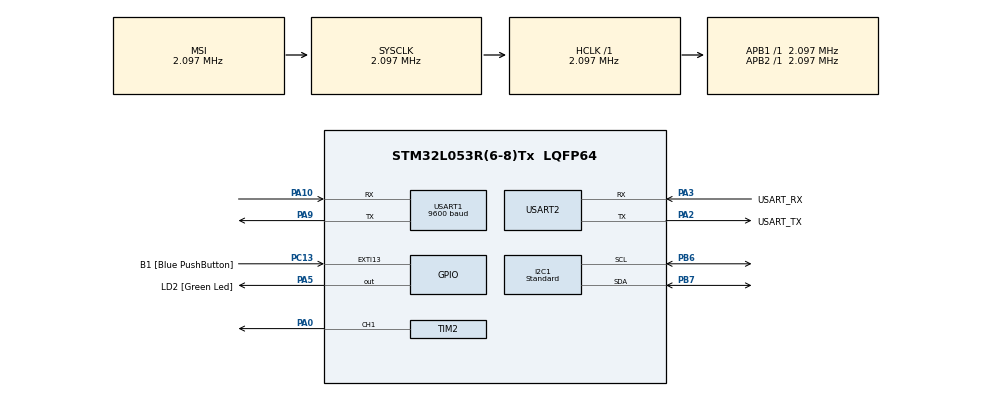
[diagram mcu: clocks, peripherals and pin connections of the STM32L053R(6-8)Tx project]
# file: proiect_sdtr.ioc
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FREERTOS.Queues01=DataQueue,5,uint16_t,0,Dynamic,NULL,NULL
FREERTOS.Tasks01=Task_Senzor,40,128,StartDefaultTask,Default,NULL,Dynamic,NULL,NULL;Task_Comunicati,24,128,StartTask02,Default,NULL,Dynamic,NULL,NULL
FREERTOS.configTOTAL_HEAP_SIZE=2048
I2C1.I2C_Speed_Mode=I2C_Standard
I2C1.Timing=0x00000608
Mcu.Family=STM32L0
Mcu.Name=STM32L053R(6-8)Tx
Mcu.Package=LQFP64
PA0.Signal=S_TIM2_CH1
PA10.Mode=Asynchronous
PA10.Signal=USART1_RX
PA13.GPIO_Label=TMS
PA13.Mode=Serial_Wire
PA13.Signal=SYS_SWDIO
PA14.GPIO_Label=TCK
PA14.Mode=Serial_Wire
PA14.Signal=SYS_SWCLK
PA2.GPIO_Label=USART_TX
PA2.Mode=Asynchronous
PA2.Signal=USART2_TX
PA3.GPIO_Label=USART_RX
PA3.Mode=Asynchronous
PA3.Signal=USART2_RX
PA5.GPIO_Label=LD2 [Green Led]
PA5.Signal=GPIO_Output
PA9.Mode=Asynchronous
PA9.Signal=USART1_TX
PB6.Mode=I2C
PB6.Signal=I2C1_SCL
PB7.Mode=I2C
PB7.Signal=I2C1_SDA
PC13.GPIO_Label=B1 [Blue PushButton]
PC13.GPIO_ModeDefaultEXTI=GPIO_MODE_IT_FALLING
PC13.Signal=GPXTI13
PC14-OSC32_IN.Mode=LSE-External-Oscillator
PC14-OSC32_IN.Signal=RCC_OSC32_IN
PC15-OSC32_OUT.Mode=LSE-External-Oscillator
PC15-OSC32_OUT.Signal=RCC_OSC32_OUT
PH0-OSC_IN.Mode=HSE-External-Clock-Source
PH0-OSC_IN.Signal=RCC_OSC_IN
PH1-OSC_OUT.Signal=RCC_OSC_OUT
ProjectManager.HeapSize=0x200
ProjectManager.StackSize=0x400
ProjectManager.TargetToolchain=STM32CubeIDE
RCC.AHBFreq_Value=2097000
RCC.APB1Freq_Value=2097000
RCC.APB1TimFreq_Value=2097000
RCC.APB2Freq_Value=2097000
RCC.APB2TimFreq_Value=2097000
RCC.HSE_VALUE=8000000
RCC.HSI16_VALUE=16000000
RCC.HSI48_VALUE=48000000
RCC.HSI_VALUE=16000000
RCC.MSI_VALUE=2097000
RCC.SYSCLKFreq_VALUE=2097000
RCC.VCOOutputFreq_Value=48000000
SH.S_TIM2_CH1.0=TIM2_CH1,PWM Generation1 CH1
TIM2.Channel-PWM\ Generation1\ CH1=TIM_CHANNEL_1
USART1.BaudRate=9600
USART1.VirtualMode-Asynchronous=VM_ASYNC
USART2.VirtualMode-Asynchronous=VM_ASYNC
VP_FREERTOS_VS_CMSIS_V2.Mode=CMSIS_V2
VP_TIM2_VS_ClockSourceINT.Mode=Internal
board=NUCLEO-L053R8

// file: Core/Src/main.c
/* USER CODE BEGIN Header */
/**
  ******************************************************************************
  * @file           : main.c
  * @brief          : Main program body
  ******************************************************************************
  * @attention
  *
  * Copyright (c) 2026 STMicroelectronics.
  * All rights reserved.
  *
  * This software is licensed under terms that can be found in the LICENSE file
  * in the root directory of this software component.
  * If no LICENSE file comes with this software, it is provided AS-IS.
  *
  ******************************************************************************
  */
/* USER CODE END Header */
#include "main.h"
#include "cmsis_os.h"
#include <string.h>

/* USER CODE BEGIN PTD */
typedef struct {
    float temperatura;
    float umiditate;
    float presiune;
} SensorData_t;

// BMP280 Calibration data
typedef struct {
    uint16_t dig_T1;
    int16_t dig_T2;
    int16_t dig_T3;
    uint16_t dig_P1;
    int16_t dig_P2;
    int16_t dig_P3;
    int16_t dig_P4;
    int16_t dig_P5;
    int16_t dig_P6;
    int16_t dig_P7;
    int16_t dig_P8;
    int16_t dig_P9;
} BMP280_Calib_t;
/* USER CODE END PTD */

/* USER CODE BEGIN PD */
// BMP280 Definitions
#define BMP280_ADDR         (0x77 << 1)  // Using alternate address (shift for HAL)
#define BMP280_ID_REG       0xD0
#define BMP280_RESET_REG    0xE0
#define BMP280_CTRL_MEAS    0xF4
#define BMP280_CONFIG       0xF5
#define BMP280_PRESS_MSB    0xF7

// AHT20 Definitions
#define AHT20_ADDR          (0x38 << 1)  // Standard address (shift for HAL)
#define AHT20_CMD_INIT      0xBE
#define AHT20_CMD_TRIGGER   0xAC
#define AHT20_CMD_SOFTRESET 0xBA
/* USER CODE END PD */

I2C_HandleTypeDef hi2c1;

TIM_HandleTypeDef htim2;

UART_HandleTypeDef huart1;
UART_HandleTypeDef huart2;

/* Definitions for Task_Senzor */
osThreadId_t Task_SenzorHandle;
const osThreadAttr_t Task_Senzor_attributes = {
  .name = "Task_Senzor",
  .stack_size = 128 * 4,  // Increased for I2C operations
  .priority = (osPriority_t) osPriorityHigh,
};
/* Definitions for Task_Comunicati */
osThreadId_t Task_ComunicatiHandle;
const osThreadAttr_t Task_Comunicati_attributes = {
  .name = "Task_Comunicati",
  .stack_size = 256 * 4,
  .priority = (osPriority_t) osPriorityNormal,
};
/* Definitions for DataQueue */
osMessageQueueId_t DataQueueHandle;
const osMessageQueueAttr_t DataQueue_attributes = {
  .name = "DataQueue"
};
/* USER CODE BEGIN PV */
static BMP280_Calib_t bmp280_calib;
static int32_t t_fine;  // For temperature compensation

/* MUTEX */
osMutexId_t I2C_MutexHandle;
osMutexId_t UART_MutexHandle;
/* USER CODE END PV */

void SystemClock_Config(void);
static void MX_GPIO_Init(void);
static void MX_USART2_UART_Init(void);
static void MX_I2C1_Init(void);
static void MX_TIM2_Init(void);
static void MX_USART1_UART_Init(void);
void StartDefaultTask(void *argument);
void StartTask02(void *argument);

/* USER CODE BEGIN PFP */
// BMP280 Functions
uint8_t BMP280_Init(void);
void BMP280_ReadCalibration(void);
float BMP280_ReadTemperature(void);
float BMP280_ReadPressure(void);

// AHT20 Functions
uint8_t AHT20_Init(void);
uint8_t AHT20_Read(float *temperature, float *humidity);
/* USER CODE END PFP */

/* USER CODE BEGIN 0 */

// ============================================================================
// BMP280 Driver Implementation
// ============================================================================

uint8_t BMP280_Init(void)
{
    uint8_t chip_id;
    uint8_t ctrl_meas = 0x27;
    uint8_t config = 0xA0;
    uint8_t reset_cmd = 0xB6;

    osMutexAcquire(I2C_MutexHandle, osWaitForever);

    if (HAL_I2C_Mem_Read(&hi2c1, BMP280_ADDR, BMP280_ID_REG, 1, &chip_id, 1, 1000) != HAL_OK)
    {
        osMutexRelease(I2C_MutexHandle);
        return 0;
    }

    HAL_I2C_Mem_Write(&hi2c1, BMP280_ADDR, BMP280_RESET_REG, 1, &reset_cmd, 1, 1000);
    HAL_Delay(10);
    HAL_I2C_Mem_Write(&hi2c1, BMP280_ADDR, BMP280_CONFIG, 1, &config, 1, 1000);
    HAL_I2C_Mem_Write(&hi2c1, BMP280_ADDR, BMP280_CTRL_MEAS, 1, &ctrl_meas, 1, 1000);

    BMP280_ReadCalibration();

    osMutexRelease(I2C_MutexHandle);

    return (chip_id == 0x58);
}

void BMP280_ReadCalibration(void) {
    uint8_t calib[24];

    HAL_I2C_Mem_Read(&hi2c1, BMP280_ADDR, 0x88, 1, calib, 24, 1000);

    bmp280_calib.dig_T1 = (calib[1] << 8) | calib[0];
    bmp280_calib.dig_T2 = (calib[3] << 8) | calib[2];
    bmp280_calib.dig_T3 = (calib[5] << 8) | calib[4];
    bmp280_calib.dig_P1 = (calib[7] << 8) | calib[6];
    bmp280_calib.dig_P2 = (calib[9] << 8) | calib[8];
    bmp280_calib.dig_P3 = (calib[11] << 8) | calib[10];
    bmp280_calib.dig_P4 = (calib[13] << 8) | calib[12];
    bmp280_calib.dig_P5 = (calib[15] << 8) | calib[14];
    bmp280_calib.dig_P6 = (calib[17] << 8) | calib[16];
    bmp280_calib.dig_P7 = (calib[19] << 8) | calib[18];
    bmp280_calib.dig_P8 = (calib[21] << 8) | calib[20];
    bmp280_calib.dig_P9 = (calib[23] << 8) | calib[22];
}

float BMP280_ReadTemperature(void) {
    uint8_t data[3];
    int32_t adc_T;
    int32_t var1, var2;

    HAL_I2C_Mem_Read(&hi2c1, BMP280_ADDR, 0xFA, 1, data, 3, 1000);

    adc_T = (data[0] << 12) | (data[1] << 4) | (data[2] >> 4);

    var1 = ((((adc_T >> 3) - ((int32_t)bmp280_calib.dig_T1 << 1))) *
            ((int32_t)bmp280_calib.dig_T2)) >> 11;
    var2 = (((((adc_T >> 4) - ((int32_t)bmp280_calib.dig_T1)) *
              ((adc_T >> 4) - ((int32_t)bmp280_calib.dig_T1))) >> 12) *
            ((int32_t)bmp280_calib.dig_T3)) >> 14;

    t_fine = var1 + var2;

    return ((t_fine * 5 + 128) >> 8) / 100.0f;
}

float BMP280_ReadPressure(void) {
    uint8_t data[3];
    int32_t adc_P;
    int64_t var1, var2, p;
    osMutexAcquire(I2C_MutexHandle, osWaitForever);

    HAL_I2C_Mem_Read(&hi2c1, BMP280_ADDR, 0xF7, 1, data, 3, 1000);
    osMutexRelease(I2C_MutexHandle);

    adc_P = (data[0] << 12) | (data[1] << 4) | (data[2] >> 4);

    var1 = ((int64_t)t_fine) - 128000;
    var2 = var1 * var1 * (int64_t)bmp280_calib.dig_P6;
    var2 = var2 + ((var1 * (int64_t)bmp280_calib.dig_P5) << 17);
    var2 = var2 + (((int64_t)bmp280_calib.dig_P4) << 35);
    var1 = ((var1 * var1 * (int64_t)bmp280_calib.dig_P3) >> 8) +
           ((var1 * (int64_t)bmp280_calib.dig_P2) << 12);
    var1 = (((((int64_t)1) << 47) + var1)) * ((int64_t)bmp280_calib.dig_P1) >> 33;

    if (var1 == 0) {
        return 0;
    }

    p = 1048576 - adc_P;
    p = (((p << 31) - var2) * 3125) / var1;
    var1 = (((int64_t)bmp280_calib.dig_P9) * (p >> 13) * (p >> 13)) >> 25;
    var2 = (((int64_t)bmp280_calib.dig_P8) * p) >> 19;

    p = ((p + var1 + var2) >> 8) + (((int64_t)bmp280_calib.dig_P7) << 4);

    return (float)p / 25600.0f;  // Return in hPa
}

// ============================================================================
// AHT20 Driver Implementation
// ============================================================================

uint8_t AHT20_Init(void) {
    uint8_t init_cmd[3] = {AHT20_CMD_INIT, 0x08, 0x00};

    HAL_Delay(40);  // Wait for sensor power-up

    // Send soft reset
    uint8_t reset = AHT20_CMD_SOFTRESET;
    osMutexAcquire(I2C_MutexHandle, osWaitForever);
    HAL_I2C_Master_Transmit(&hi2c1, AHT20_ADDR, &reset, 1, 1000);
    HAL_Delay(20);
    HAL_I2C_Master_Transmit(&hi2c1, AHT20_ADDR, init_cmd, 3, 1000);
    osMutexRelease(I2C_MutexHandle);

    HAL_Delay(10);
    return 1;
}

uint8_t AHT20_Read(float *temperature, float *humidity) {
    uint8_t trigger_cmd[3] = {AHT20_CMD_TRIGGER, 0x33, 0x00};
    uint8_t data[6];

    // Trigger measurement
    osMutexAcquire(I2C_MutexHandle, osWaitForever);
    HAL_I2C_Master_Transmit(&hi2c1, AHT20_ADDR, trigger_cmd, 3, 1000);
    HAL_Delay(80);
    HAL_I2C_Master_Receive(&hi2c1, AHT20_ADDR, data, 6, 1000);
    osMutexRelease(I2C_MutexHandle);

    // Check if busy
    if (data[0] & 0x80) {
        return 0;
    }

    // Calculate humidity
    uint32_t hum = ((uint32_t)data[1] << 12) | ((uint32_t)data[2] << 4) | (data[3] >> 4);
    *humidity = (hum * 100.0f) / 1048576.0f;

    // Calculate temperature
    uint32_t temp = (((uint32_t)data[3] & 0x0F) << 16) | ((uint32_t)data[4] << 8) | data[5];
    *temperature = (temp * 200.0f / 1048576.0f) - 50.0f;

    return 1;
}

/* USER CODE END 0 */

int main(void)
{

  /* MCU Configuration--------------------------------------------------------*/

  /* Reset of all peripherals, Initializes the Flash interface and the Systick. */
  HAL_Init();

  /* Configure the system clock */
  SystemClock_Config();

  /* Initialize all configured peripherals */
  MX_GPIO_Init();
  MX_USART2_UART_Init();
  MX_I2C1_Init();
  MX_TIM2_Init();
  MX_USART1_UART_Init();
  /* USER CODE BEGIN 2 */
  HAL_Delay(2000);

  char msg[] = "Sistem pornit!\r\n";
  HAL_UART_Transmit(&huart1, (uint8_t*)msg, strlen(msg), 1000);

  // Initialize sensors
  if (BMP280_Init()) {
      char bmp_ok[] = "BMP280 OK\r\n";
      HAL_UART_Transmit(&huart1, (uint8_t*)bmp_ok, strlen(bmp_ok), 1000);
  } else {
      char bmp_err[] = "BMP280 EROARE!\r\n";
      HAL_UART_Transmit(&huart1, (uint8_t*)bmp_err, strlen(bmp_err), 1000);
  }

  if (AHT20_Init()) {
      char aht_ok[] = "AHT20 OK\r\n";
      HAL_UART_Transmit(&huart1, (uint8_t*)aht_ok, strlen(aht_ok), 1000);
  } else {
      char aht_err[] = "AHT20 EROARE!\r\n";
      HAL_UART_Transmit(&huart1, (uint8_t*)aht_err, strlen(aht_err), 1000);
  }

  // LED ON = am ajuns aici
  HAL_GPIO_WritePin(LD2_GPIO_Port, LD2_Pin, GPIO_PIN_SET);
  HAL_Delay(500);
  HAL_GPIO_WritePin(LD2_GPIO_Port, LD2_Pin, GPIO_PIN_RESET);

  /* USER CODE END 2 */

  /* Init scheduler */
  osKernelInitialize();

  /* USER CODE BEGIN RTOS_MUTEX */
  I2C_MutexHandle  = osMutexNew(NULL);
  UART_MutexHandle = osMutexNew(NULL);
  /* USER CODE END RTOS_MUTEX */

  /* Create the queue(s) */
  /* creation of DataQueue */
  DataQueueHandle = osMessageQueueNew(5, sizeof(SensorData_t), &DataQueue_attributes);

  /* Create the thread(s) */
  /* creation of Task_Senzor */
  Task_SenzorHandle = osThreadNew(StartDefaultTask, NULL, &Task_Senzor_attributes);

  /* creation of Task_Comunicati */
  Task_ComunicatiHandle = osThreadNew(StartTask02, NULL, &Task_Comunicati_attributes);

  /* Start scheduler */
  osKernelStart();

  /* We should never get here as control is now taken by the scheduler */

  /* Infinite loop */
  while (1)
  {

  }
}

void SystemClock_Config(void)
{
  RCC_OscInitTypeDef RCC_OscInitStruct = {0};
  RCC_ClkInitTypeDef RCC_ClkInitStruct = {0};
  RCC_PeriphCLKInitTypeDef PeriphClkInit = {0};

  /** Configure the main internal regulator output voltage
  */
  __HAL_PWR_VOLTAGESCALING_CONFIG(PWR_REGULATOR_VOLTAGE_SCALE1);

  /** Initializes the RCC Oscillators according to the specified parameters
  * in the RCC_OscInitTypeDef structure.
  */
  RCC_OscInitStruct.OscillatorType = RCC_OSCILLATORTYPE_MSI;
  RCC_OscInitStruct.MSIState = RCC_MSI_ON;
  RCC_OscInitStruct.MSICalibrationValue = 0;
  RCC_OscInitStruct.MSIClockRange = RCC_MSIRANGE_5;
  RCC_OscInitStruct.PLL.PLLState = RCC_PLL_NONE;
  if (HAL_RCC_OscConfig(&RCC_OscInitStruct) != HAL_OK)
  {
    Error_Handler();
  }

  /** Initializes the CPU, AHB and APB buses clocks
  */
  RCC_ClkInitStruct.ClockType = RCC_CLOCKTYPE_HCLK|RCC_CLOCKTYPE_SYSCLK
                              |RCC_CLOCKTYPE_PCLK1|RCC_CLOCKTYPE_PCLK2;
  RCC_ClkInitStruct.SYSCLKSource = RCC_SYSCLKSOURCE_MSI;
  RCC_ClkInitStruct.AHBCLKDivider = RCC_SYSCLK_DIV1;
  RCC_ClkInitStruct.APB1CLKDivider = RCC_HCLK_DIV1;
  RCC_ClkInitStruct.APB2CLKDivider = RCC_HCLK_DIV1;

  if (HAL_RCC_ClockConfig(&RCC_ClkInitStruct, FLASH_LATENCY_0) != HAL_OK)
  {
    Error_Handler();
  }
  PeriphClkInit.PeriphClockSelection = RCC_PERIPHCLK_USART1|RCC_PERIPHCLK_USART2
                              |RCC_PERIPHCLK_I2C1;
  PeriphClkInit.Usart1ClockSelection = RCC_USART1CLKSOURCE_PCLK2;
  PeriphClkInit.Usart2ClockSelection = RCC_USART2CLKSOURCE_PCLK1;
  PeriphClkInit.I2c1ClockSelection = RCC_I2C1CLKSOURCE_PCLK1;
  if (HAL_RCCEx_PeriphCLKConfig(&PeriphClkInit) != HAL_OK)
  {
    Error_Handler();
  }
}

static void MX_I2C1_Init(void)
{

  hi2c1.Instance = I2C1;
  hi2c1.Init.Timing = 0x00000608;
  hi2c1.Init.OwnAddress1 = 0;
  hi2c1.Init.AddressingMode = I2C_ADDRESSINGMODE_7BIT;
  hi2c1.Init.DualAddressMode = I2C_DUALADDRESS_DISABLE;
  hi2c1.Init.OwnAddress2 = 0;
  hi2c1.Init.OwnAddress2Masks = I2C_OA2_NOMASK;
  hi2c1.Init.GeneralCallMode = I2C_GENERALCALL_DISABLE;
  hi2c1.Init.NoStretchMode = I2C_NOSTRETCH_DISABLE;
  if (HAL_I2C_Init(&hi2c1) != HAL_OK)
  {
    Error_Handler();
  }

  /** Configure Analogue filter
  */
  if (HAL_I2CEx_ConfigAnalogFilter(&hi2c1, I2C_ANALOGFILTER_ENABLE) != HAL_OK)
  {
    Error_Handler();
  }

  /** Configure Digital filter
  */
  if (HAL_I2CEx_ConfigDigitalFilter(&hi2c1, 0) != HAL_OK)
  {
    Error_Handler();
  }

}

static void MX_TIM2_Init(void)
{

  TIM_ClockConfigTypeDef sClockSourceConfig = {0};
  TIM_MasterConfigTypeDef sMasterConfig = {0};
  TIM_OC_InitTypeDef sConfigOC = {0};

  htim2.Instance = TIM2;
  htim2.Init.Prescaler = 0;
  htim2.Init.CounterMode = TIM_COUNTERMODE_UP;
  htim2.Init.Period = 65535;
  htim2.Init.ClockDivision = TIM_CLOCKDIVISION_DIV1;
  htim2.Init.AutoReloadPreload = TIM_AUTORELOAD_PRELOAD_DISABLE;
  if (HAL_TIM_Base_Init(&htim2) != HAL_OK)
  {
    Error_Handler();
  }
  sClockSourceConfig.ClockSource = TIM_CLOCKSOURCE_INTERNAL;
  if (HAL_TIM_ConfigClockSource(&htim2, &sClockSourceConfig) != HAL_OK)
  {
    Error_Handler();
  }
  if (HAL_TIM_PWM_Init(&htim2) != HAL_OK)
  {
    Error_Handler();
  }
  sMasterConfig.MasterOutputTrigger = TIM_TRGO_RESET;
  sMasterConfig.MasterSlaveMode = TIM_MASTERSLAVEMODE_DISABLE;
  if (HAL_TIMEx_MasterConfigSynchronization(&htim2, &sMasterConfig) != HAL_OK)
  {
    Error_Handler();
  }
  sConfigOC.OCMode = TIM_OCMODE_PWM1;
  sConfigOC.Pulse = 0;
  sConfigOC.OCPolarity = TIM_OCPOLARITY_HIGH;
  sConfigOC.OCFastMode = TIM_OCFAST_DISABLE;
  if (HAL_TIM_PWM_ConfigChannel(&htim2, &sConfigOC, TIM_CHANNEL_1) != HAL_OK)
  {
    Error_Handler();
  }
  HAL_TIM_MspPostInit(&htim2);

}

static void MX_USART1_UART_Init(void)
{

  huart1.Instance = USART1;
  huart1.Init.BaudRate = 9600;
  huart1.Init.WordLength = UART_WORDLENGTH_8B;
  huart1.Init.StopBits = UART_STOPBITS_1;
  huart1.Init.Parity = UART_PARITY_NONE;
  huart1.Init.Mode = UART_MODE_TX_RX;
  huart1.Init.HwFlowCtl = UART_HWCONTROL_NONE;
  huart1.Init.OverSampling = UART_OVERSAMPLING_16;
  huart1.Init.OneBitSampling = UART_ONE_BIT_SAMPLE_DISABLE;
  huart1.AdvancedInit.AdvFeatureInit = UART_ADVFEATURE_NO_INIT;
  if (HAL_UART_Init(&huart1) != HAL_OK)
  {
    Error_Handler();
  }

}

static void MX_USART2_UART_Init(void)
{

  huart2.Instance = USART2;
  huart2.Init.BaudRate = 115200;
  huart2.Init.WordLength = UART_WORDLENGTH_8B;
  huart2.Init.StopBits = UART_STOPBITS_1;
  huart2.Init.Parity = UART_PARITY_NONE;
  huart2.Init.Mode = UART_MODE_TX_RX;
  huart2.Init.HwFlowCtl = UART_HWCONTROL_NONE;
  huart2.Init.OverSampling = UART_OVERSAMPLING_16;
  huart2.Init.OneBitSampling = UART_ONE_BIT_SAMPLE_DISABLE;
  huart2.AdvancedInit.AdvFeatureInit = UART_ADVFEATURE_NO_INIT;
  if (HAL_UART_Init(&huart2) != HAL_OK)
  {
    Error_Handler();
  }

}

static void MX_GPIO_Init(void)
{
  GPIO_InitTypeDef GPIO_InitStruct = {0};

  /* GPIO Ports Clock Enable */
  __HAL_RCC_GPIOC_CLK_ENABLE();
  __HAL_RCC_GPIOH_CLK_ENABLE();
  __HAL_RCC_GPIOA_CLK_ENABLE();
  __HAL_RCC_GPIOB_CLK_ENABLE();

  /*Configure GPIO pin Output Level */
  HAL_GPIO_WritePin(LD2_GPIO_Port, LD2_Pin, GPIO_PIN_RESET);

  /*Configure GPIO pin : B1_Pin */
  GPIO_InitStruct.Pin = B1_Pin;
  GPIO_InitStruct.Mode = GPIO_MODE_IT_FALLING;
  GPIO_InitStruct.Pull = GPIO_NOPULL;
  HAL_GPIO_Init(B1_GPIO_Port, &GPIO_InitStruct);

  /*Configure GPIO pin : LD2_Pin */
  GPIO_InitStruct.Pin = LD2_Pin;
  GPIO_InitStruct.Mode = GPIO_MODE_OUTPUT_PP;
  GPIO_InitStruct.Pull = GPIO_NOPULL;
  GPIO_InitStruct.Speed = GPIO_SPEED_FREQ_LOW;
  HAL_GPIO_Init(LD2_GPIO_Port, &GPIO_InitStruct);

}

void StartDefaultTask(void *argument)
{
  static SensorData_t sensor_data;
  float temp_aht, hum_aht;

  osDelay(2000);

  for(;;)
  {
    // Read AHT20 (temperature + humidity)
    if (AHT20_Read(&temp_aht, &hum_aht)) {
      sensor_data.temperatura = temp_aht;
      sensor_data.umiditate = hum_aht;
    } else {
      // Error reading AHT20 - use fallback values
      sensor_data.temperatura = -999.0f;
      sensor_data.umiditate = -999.0f;
    }

    // Read BMP280 (pressure, we use AHT20 for temperature)
    sensor_data.presiune = BMP280_ReadPressure();

    // Send to queue
    osMessageQueuePut(DataQueueHandle, &sensor_data, 0, 100);

        // 4. Feedback vizual (Toggle LED)
        HAL_GPIO_TogglePin(LD2_GPIO_Port, LD2_Pin);

        // 5. Pauză de 30 de secunde (30000 ms)
        osDelay(30000);
  }
}

void StartTask02(void *argument)
{
  static SensorData_t received_data;
  static char buf[100];

  for(;;)
  {
    if (osMessageQueueGet(DataQueueHandle, &received_data, NULL, osWaitForever) == osOK)
    {
      // Convert to integers to save RAM
      int temp = (int)(received_data.temperatura * 10);
      int umid = (int)(received_data.umiditate * 10);
      int pres = (int)(received_data.presiune * 10);

      int len = snprintf(buf, sizeof(buf),
                        "T:%d.%d C|U:%d.%d%%|P:%d.%d hPa\r\n",
                        temp/10, temp%10,
                        umid/10, umid%10,
                        pres/10, pres%10);

      osMutexAcquire(UART_MutexHandle, osWaitForever);
      HAL_UART_Transmit(&huart1, (uint8_t*)buf, len, 1000);
      osMutexRelease(UART_MutexHandle);
    }
  }
}

void Error_Handler(void)
{
  __disable_irq();
  while (1)
  {
  }
}
